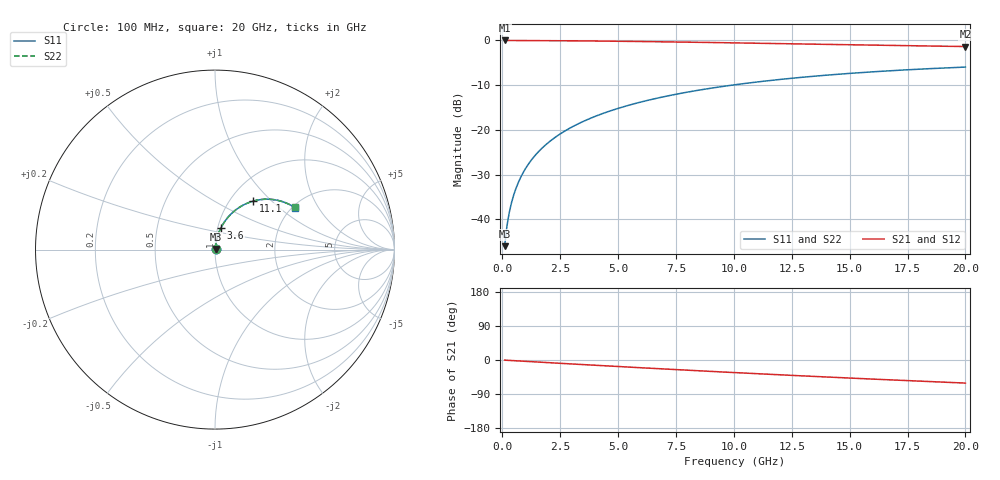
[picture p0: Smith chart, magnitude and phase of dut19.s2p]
! Touchstone file exported from HFSS 2026.1.0
!  File:  C:/ffzhzh/LocalFiles/Ansys_Project_Files/temp_test_TMRDL_19_1782907152_13352.aedt
!  Generated:  08:00:37 PM Jul  1, 2026
!  Design:  TMRDL
!  Project:  temp_test_TMRDL_19_1782907152_13352
! Variables:
!  h_bsmrdl = 2um
!  h_ox = 20um
!  h_rdl = 5um
!  h_sub = 80um
!  h_tmrdl = 5.02um
!  h_tsv = 80um
!  h_via = 3um
!  l_bsmrdl = 300um
!  l_sub = 1357.73um
!  l_tmrdl = 957.73um
!  m_sub = 200um
!  pitch = 55.57um
!  r_tsv = 6um
!  s_tmrdl = 10um
!  w_bsmrdl = 18um
!  w_sub = 500um
!  w_tmrdl = 23.22um
!  x_tsv_center1 = 969.34um
!  x_tsv_center2 = 1287.34um
!  x_tsv_center3 = 2268.29um
!  x_tsv_center4 = 2586.29um
!  x_tsv_center5 = 3567.24um
!  x_tsv_center6 = 3885.24um
# GHz S MA R 50.000000
! Terminal data exported
! Port[1] = TM_RDL1_1_T1
! Port[2] = TM_RDL1_1_T2
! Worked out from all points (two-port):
!   200 points, 100 MHz to 20 GHz, reference 50 ohm
!   highest |S21| = -0.03 dB at 100 MHz (marker M1); lowest = -1.4 dB at 20 GHz (marker M2)
!   |S21| within 3 dB of the highest: start of sweep to end of sweep
!   lowest |S11| = -46.0 dB at 100 MHz (marker M3), VSWR 1.01, Z = 50.3 + j0.393 ohm
!   |S11| at or under -10 dB: start of sweep to 9.949 GHz
!   |S22| runs from -46.0 to -6.0 dB; largest |S21 - S12| = 3.1e-15
!   S11 on the Smith chart (normalised r, x): 100 MHz: 1.01, +0.01; 3.6 GHz: 1.04, +0.26; 11.1 GHz: 1.27, +0.78; 20 GHz: 2.06, +1.29
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0.1  0.005 51.4  0.9969 -0.4  0.9969 -0.4  0.005 51.4
! Gamma 0 0 0 0
! Port Impedance 50 0 50 0
0.2  0.008372 66.0  0.9967 -0.7  0.9967 -0.7  0.008372 66.0
0.3  0.01186 71.8  0.9965 -1.1  0.9965 -1.1  0.01186 71.8
0.4  0.01537 75.0  0.9963 -1.4  0.9963 -1.4  0.01537 75.0
0.5  0.01891 76.9  0.9961 -1.8  0.9961 -1.8  0.01891 76.9
0.7  0.02602 79.0  0.9958 -2.5  0.9958 -2.5  0.02602 79.0
1  0.03676 80.2  0.9953 -3.5  0.9953 -3.5  0.03676 80.2
1.4  0.05107 80.2  0.9944 -4.9  0.9944 -4.9  0.05107 80.2
1.7  0.06176 79.8  0.9935 -6.0  0.9935 -6.0  0.06175 79.8
2  0.07238 79.1  0.9925 -7.0  0.9925 -7.0  0.07238 79.1
2.7  0.09684 77.3  0.9897 -9.4  0.9897 -9.4  0.09684 77.3
3.5  0.1242 74.9  0.9858 -12.2  0.9858 -12.2  0.1242 74.9
3.6  0.1275 74.5  0.9853 -12.5  0.9853 -12.5  0.1275 74.6
4.3  0.1508 72.4  0.9813 -14.9  0.9813 -14.9  0.1508 72.4
5  0.1735 70.2  0.9769 -17.2  0.9769 -17.2  0.1735 70.2
6.8  0.2291 64.6  0.9641 -23.1  0.9641 -23.1  0.229 64.6
8.3  0.2722 60.0  0.952 -27.9  0.952 -27.9  0.2722 60.0
10.1  0.3201 54.6  0.9365 -33.4  0.9365 -33.4  0.3201 54.6
11.1  0.3447 51.7  0.9275 -36.5  0.9275 -36.5  0.3447 51.7
13.4  0.3959 45.1  0.9066 -43.2  0.9066 -43.2  0.3958 45.2
16.7  0.4562 36.2  0.8778 -52.3  0.8778 -52.3  0.4562 36.3
20  0.5022 27.8  0.8526 -60.9  0.8526 -60.9  0.5022 27.9
